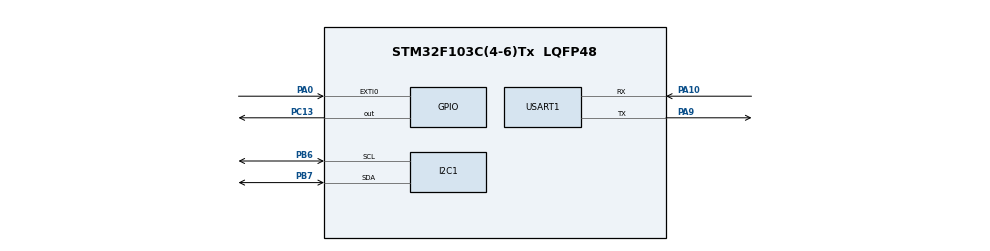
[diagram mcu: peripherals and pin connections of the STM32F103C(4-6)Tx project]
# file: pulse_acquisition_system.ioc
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Mcu.Family=STM32F1
Mcu.Name=STM32F103C(4-6)Tx
Mcu.Package=LQFP48
NVIC.EXTI0_IRQn=true\:0\:0\:false\:false\:true\:true\:true\:true
NVIC.PriorityGroup=NVIC_PRIORITYGROUP_4
NVIC.TIM2_IRQn=true\:0\:0\:false\:false\:true\:true\:true\:true
PA0-WKUP.Signal=GPXTI0
PA10.Mode=Asynchronous
PA10.Signal=USART1_RX
PA13.Mode=Serial_Wire
PA13.Signal=SYS_JTMS-SWDIO
PA14.Mode=Serial_Wire
PA14.Signal=SYS_JTCK-SWCLK
PA9.Mode=Asynchronous
PA9.Signal=USART1_TX
PB6.Mode=I2C
PB6.Signal=I2C1_SCL
PB7.Mode=I2C
PB7.Signal=I2C1_SDA
PC13-TAMPER-RTC.Signal=GPIO_Output
ProjectManager.HeapSize=0x200
ProjectManager.StackSize=0x400
ProjectManager.TargetToolchain=STM32CubeIDE
RCC.APB1Freq_Value=8000000
RCC.APB2Freq_Value=8000000
TIM2.Period=999
TIM2.Prescaler=7999
USART1.VirtualMode=VM_ASYNC
VP_TIM2_VS_ClockSourceINT.Mode=Internal
board=custom

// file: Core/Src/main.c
/* USER CODE BEGIN Header */
/**
  ******************************************************************************
  * @file           : main.c
  * @brief          : Main program body
  ******************************************************************************
  * @attention
  *
  * Copyright (c) 2026 STMicroelectronics.
  * All rights reserved.
  *
  * This software is licensed under terms that can be found in the LICENSE file
  * in the root directory of this software component.
  * If no LICENSE file comes with this software, it is provided AS-IS.
  *
  ******************************************************************************
  */
/* USER CODE END Header */
#include "main.h"

/* USER CODE BEGIN Includes */
#include "ssd1306.h"
#include <stdio.h>
#include <string.h>
/* USER CODE END Includes */

I2C_HandleTypeDef hi2c1;

TIM_HandleTypeDef htim2;

UART_HandleTypeDef huart1;

/* USER CODE BEGIN PV */
volatile uint32_t pulse_count = 0;
uint8_t alarm_state = 0;
char uart_buf[128];

volatile uint32_t cps = 0;
volatile uint32_t avg_cps = 0;
volatile uint32_t max_cps = 0;
volatile uint32_t min_cps = 999999;

volatile uint32_t total_cps = 0;
volatile uint32_t sample_count = 0;

volatile uint32_t last_tick = 0;

volatile uint32_t pulse_interval = 0;
volatile uint32_t previous_pulse_time = 0;

char buf[32];

/* USER CODE END PV */

void SystemClock_Config(void);
static void MX_GPIO_Init(void);
static void MX_I2C1_Init(void);
static void MX_TIM2_Init(void);
static void MX_USART1_UART_Init(void);

/* USER CODE BEGIN 0 */

void UART_Log(void)
{
	sprintf(
	    uart_buf,
	    "CPS=%lu AVG=%lu MAX=%lu INT=%lu ALARM=%u\r\n",
	    cps,
	    avg_cps,
	    max_cps,
	    pulse_interval,
	    alarm_state
	);

    HAL_UART_Transmit(
        &huart1,
        (uint8_t*)uart_buf,
        strlen(uart_buf),
        100
    );
}
/* USER CODE END 0 */

int main(void)
{

  /* MCU Configuration--------------------------------------------------------*/

  /* Reset of all peripherals, Initializes the Flash interface and the Systick. */
  HAL_Init();

  /* Configure the system clock */
  SystemClock_Config();

  /* Initialize all configured peripherals */
  MX_GPIO_Init();
  MX_I2C1_Init();
  MX_TIM2_Init();
  MX_USART1_UART_Init();
  /* USER CODE BEGIN 2 */
  OLED_Init();
  OLED_Clear();

  OLED_BufferClear();

  OLED_UpdateScreen();
  HAL_TIM_Base_Start_IT(&htim2);

  /* USER CODE END 2 */

  /* Infinite loop */
  /* USER CODE BEGIN WHILE */
  while (1)
  {
	  uint32_t lcps;
	  uint32_t lavg;
	  uint32_t lmax;

	  uint32_t linterval;
	  __disable_irq();

	  lcps = cps;
	  lavg = avg_cps;
	  lmax = max_cps;

	  linterval = pulse_interval;

	  __enable_irq();
	  OLED_BufferClear();

	  sprintf(buf,"CPS:%lu",lcps);
	  OLED_DrawString(0,0,buf);

	  sprintf(buf,"AVG:%lu",lavg);
	  OLED_DrawString(0,16,buf);

	  sprintf(buf,"MAX:%lu",lmax);
	  OLED_DrawString(0,32,buf);

	  sprintf(buf,"INT:%lu",linterval);
	  OLED_DrawString(0,48,buf);

	    OLED_UpdateScreen();

	    HAL_Delay(100);

    /* USER CODE END WHILE */

  }
}

void SystemClock_Config(void)
{
  RCC_OscInitTypeDef RCC_OscInitStruct = {0};
  RCC_ClkInitTypeDef RCC_ClkInitStruct = {0};

  /** Initializes the RCC Oscillators according to the specified parameters
  * in the RCC_OscInitTypeDef structure.
  */
  RCC_OscInitStruct.OscillatorType = RCC_OSCILLATORTYPE_HSI;
  RCC_OscInitStruct.HSIState = RCC_HSI_ON;
  RCC_OscInitStruct.HSICalibrationValue = RCC_HSICALIBRATION_DEFAULT;
  RCC_OscInitStruct.PLL.PLLState = RCC_PLL_NONE;
  if (HAL_RCC_OscConfig(&RCC_OscInitStruct) != HAL_OK)
  {
    Error_Handler();
  }

  /** Initializes the CPU, AHB and APB buses clocks
  */
  RCC_ClkInitStruct.ClockType = RCC_CLOCKTYPE_HCLK|RCC_CLOCKTYPE_SYSCLK
                              |RCC_CLOCKTYPE_PCLK1|RCC_CLOCKTYPE_PCLK2;
  RCC_ClkInitStruct.SYSCLKSource = RCC_SYSCLKSOURCE_HSI;
  RCC_ClkInitStruct.AHBCLKDivider = RCC_SYSCLK_DIV1;
  RCC_ClkInitStruct.APB1CLKDivider = RCC_HCLK_DIV1;
  RCC_ClkInitStruct.APB2CLKDivider = RCC_HCLK_DIV1;

  if (HAL_RCC_ClockConfig(&RCC_ClkInitStruct, FLASH_LATENCY_0) != HAL_OK)
  {
    Error_Handler();
  }
}

static void MX_I2C1_Init(void)
{

  hi2c1.Instance = I2C1;
  hi2c1.Init.ClockSpeed = 100000;
  hi2c1.Init.DutyCycle = I2C_DUTYCYCLE_2;
  hi2c1.Init.OwnAddress1 = 0;
  hi2c1.Init.AddressingMode = I2C_ADDRESSINGMODE_7BIT;
  hi2c1.Init.DualAddressMode = I2C_DUALADDRESS_DISABLE;
  hi2c1.Init.OwnAddress2 = 0;
  hi2c1.Init.GeneralCallMode = I2C_GENERALCALL_DISABLE;
  hi2c1.Init.NoStretchMode = I2C_NOSTRETCH_DISABLE;
  if (HAL_I2C_Init(&hi2c1) != HAL_OK)
  {
    Error_Handler();
  }

}

static void MX_TIM2_Init(void)
{

  TIM_ClockConfigTypeDef sClockSourceConfig = {0};
  TIM_MasterConfigTypeDef sMasterConfig = {0};

  htim2.Instance = TIM2;
  htim2.Init.Prescaler = 7999;
  htim2.Init.CounterMode = TIM_COUNTERMODE_UP;
  htim2.Init.Period = 999;
  htim2.Init.ClockDivision = TIM_CLOCKDIVISION_DIV1;
  htim2.Init.AutoReloadPreload = TIM_AUTORELOAD_PRELOAD_DISABLE;
  if (HAL_TIM_Base_Init(&htim2) != HAL_OK)
  {
    Error_Handler();
  }
  sClockSourceConfig.ClockSource = TIM_CLOCKSOURCE_INTERNAL;
  if (HAL_TIM_ConfigClockSource(&htim2, &sClockSourceConfig) != HAL_OK)
  {
    Error_Handler();
  }
  sMasterConfig.MasterOutputTrigger = TIM_TRGO_RESET;
  sMasterConfig.MasterSlaveMode = TIM_MASTERSLAVEMODE_DISABLE;
  if (HAL_TIMEx_MasterConfigSynchronization(&htim2, &sMasterConfig) != HAL_OK)
  {
    Error_Handler();
  }

}

static void MX_USART1_UART_Init(void)
{

  huart1.Instance = USART1;
  huart1.Init.BaudRate = 115200;
  huart1.Init.WordLength = UART_WORDLENGTH_8B;
  huart1.Init.StopBits = UART_STOPBITS_1;
  huart1.Init.Parity = UART_PARITY_NONE;
  huart1.Init.Mode = UART_MODE_TX_RX;
  huart1.Init.HwFlowCtl = UART_HWCONTROL_NONE;
  huart1.Init.OverSampling = UART_OVERSAMPLING_16;
  if (HAL_UART_Init(&huart1) != HAL_OK)
  {
    Error_Handler();
  }

}

static void MX_GPIO_Init(void)
{
  GPIO_InitTypeDef GPIO_InitStruct = {0};

  /* GPIO Ports Clock Enable */
  __HAL_RCC_GPIOC_CLK_ENABLE();
  __HAL_RCC_GPIOA_CLK_ENABLE();
  __HAL_RCC_GPIOB_CLK_ENABLE();

  /*Configure GPIO pin Output Level */
  HAL_GPIO_WritePin(GPIOC, GPIO_PIN_13, GPIO_PIN_RESET);

  /*Configure GPIO pin : PC13 */
  GPIO_InitStruct.Pin = GPIO_PIN_13;
  GPIO_InitStruct.Mode = GPIO_MODE_OUTPUT_PP;
  GPIO_InitStruct.Pull = GPIO_NOPULL;
  GPIO_InitStruct.Speed = GPIO_SPEED_FREQ_LOW;
  HAL_GPIO_Init(GPIOC, &GPIO_InitStruct);

  /*Configure GPIO pin : PA0 */
  GPIO_InitStruct.Pin = GPIO_PIN_0;
  GPIO_InitStruct.Mode = GPIO_MODE_IT_RISING;
  GPIO_InitStruct.Pull = GPIO_NOPULL;
  HAL_GPIO_Init(GPIOA, &GPIO_InitStruct);

  /* EXTI interrupt init*/
  HAL_NVIC_SetPriority(EXTI0_IRQn, 0, 0);
  HAL_NVIC_EnableIRQ(EXTI0_IRQn);

}

/* USER CODE BEGIN 4 */
void HAL_GPIO_EXTI_Callback(uint16_t GPIO_Pin)
{
    if(GPIO_Pin == GPIO_PIN_0)
    {
        uint32_t now;

        now = HAL_GetTick();

        if((now - last_tick) > 5)
        {
            pulse_interval =
                now - previous_pulse_time;

            previous_pulse_time = now;

            pulse_count++;

            last_tick = now;
        }
    }
}
void HAL_TIM_PeriodElapsedCallback(TIM_HandleTypeDef *htim)
{
    if(htim->Instance == TIM2)
    {
    	UART_Log();
        cps = pulse_count;

        pulse_count = 0;

        if(cps > max_cps)
        {
            max_cps = cps;
        }

        if(cps < min_cps)
        {
            min_cps = cps;
        }
        if(cps > 20)
        {
            alarm_state = 1;
        }
        else
        {
            alarm_state = 0;
        }

        total_cps += cps;

        sample_count++;

        avg_cps = total_cps / sample_count;
    }

}

/* USER CODE END 4 */

void Error_Handler(void)
{
  __disable_irq();
  while (1)
  {
  }
}
